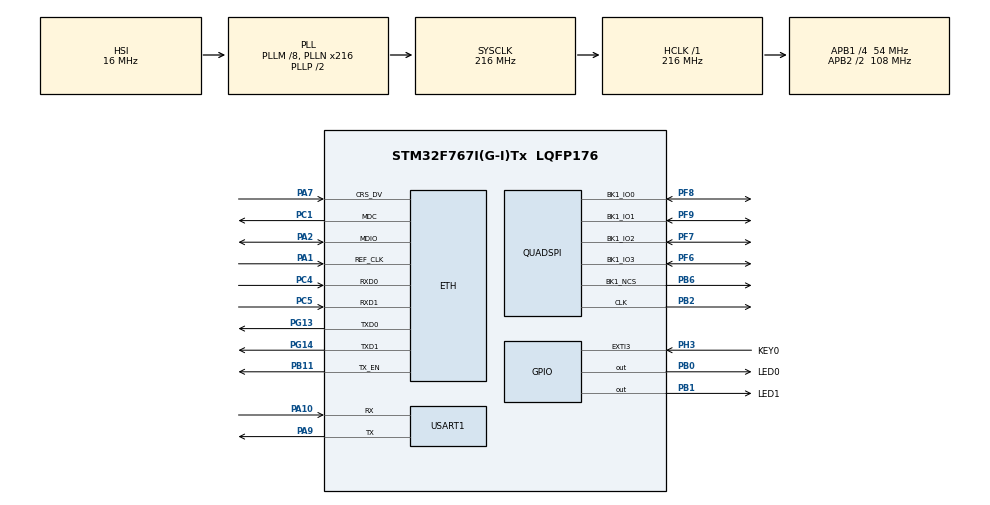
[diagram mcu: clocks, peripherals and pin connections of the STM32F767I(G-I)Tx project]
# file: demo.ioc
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CORTEX_M7.CPU_DCache=Enabled
CORTEX_M7.CPU_ICache=Enabled
Dma.Request0=USART1_TX
Dma.Request1=USART1_RX
Dma.USART1_RX.1.Direction=DMA_PERIPH_TO_MEMORY
Dma.USART1_RX.1.FIFOMode=DMA_FIFOMODE_DISABLE
Dma.USART1_RX.1.Instance=DMA2_Stream2
Dma.USART1_RX.1.MemDataAlignment=DMA_MDATAALIGN_BYTE
Dma.USART1_RX.1.MemInc=DMA_MINC_ENABLE
Dma.USART1_RX.1.Mode=DMA_NORMAL
Dma.USART1_RX.1.PeriphDataAlignment=DMA_PDATAALIGN_BYTE
Dma.USART1_RX.1.PeriphInc=DMA_PINC_DISABLE
Dma.USART1_RX.1.Priority=DMA_PRIORITY_LOW
Dma.USART1_TX.0.Direction=DMA_MEMORY_TO_PERIPH
Dma.USART1_TX.0.FIFOMode=DMA_FIFOMODE_DISABLE
Dma.USART1_TX.0.Instance=DMA2_Stream7
Dma.USART1_TX.0.MemDataAlignment=DMA_MDATAALIGN_BYTE
Dma.USART1_TX.0.MemInc=DMA_MINC_ENABLE
Dma.USART1_TX.0.Mode=DMA_NORMAL
Dma.USART1_TX.0.PeriphDataAlignment=DMA_PDATAALIGN_BYTE
Dma.USART1_TX.0.PeriphInc=DMA_PINC_DISABLE
Dma.USART1_TX.0.Priority=DMA_PRIORITY_LOW
ETH.MediaInterface=HAL_ETH_RMII_MODE
FREERTOS.Tasks01=defaultTask,0,4096,StartDefaultTask,Default,NULL,Dynamic,NULL,NULL;feedDogTask,-3,2048,StartTask02,Default,NULL,Dynamic,NULL,NULL
FREERTOS.configMINIMAL_STACK_SIZE=2048
FREERTOS.configTOTAL_HEAP_SIZE=102400
FREERTOS.configUSE_NEWLIB_REENTRANT=1
IWDG.Prescaler=IWDG_PRESCALER_64
LWIP.BSP.number=1
LWIP.DEFAULT_THREAD_STACKSIZE=2048
LWIP.GATEWAY_ADDRESS=192.168.001.001
LWIP.IP_ADDRESS=192.168.001.010
LWIP.LWIP_ARP=1
LWIP.LWIP_DHCP=0
LWIP.NETMASK_ADDRESS=255.255.255.000
LWIP.SLIPIF_THREAD_STACKSIZE=2048
LWIP.TCPIP_THREAD_NAME="tcpip_thread1"
LWIP.TCPIP_THREAD_STACKSIZE=2048
LWIP.Version=v2.1.2_Cube
LWIP0.BSP.STBoard=false
LWIP0.BSP.api=BSP_COMPONENT_DRIVER
LWIP0.BSP.component=LAN8742
LWIP0.BSP.instance=LAN8742
LWIP0.BSP.name=Driver_PHY
LWIP0.BSP.semaphore=S_LAN8742
LWIP0.BSP.solution=LAN8742
Mcu.Family=STM32F7
Mcu.Name=STM32F767I(G-I)Tx
Mcu.Package=LQFP176
NVIC.DMA2_Stream2_IRQn=true\:5\:0\:false\:false\:true\:true\:false\:true\:true
NVIC.DMA2_Stream7_IRQn=true\:5\:0\:false\:false\:true\:true\:false\:true\:true
NVIC.ETH_IRQn=true\:5\:0\:false\:false\:true\:true\:false\:true\:true
NVIC.EXTI3_IRQn=true\:5\:0\:false\:false\:true\:true\:true\:true\:true
NVIC.PriorityGroup=NVIC_PRIORITYGROUP_4
NVIC.TIM1_UP_TIM10_IRQn=true\:15\:0\:false\:false\:true\:false\:false\:true\:true
NVIC.TimeBase=TIM1_UP_TIM10_IRQn
NVIC.TimeBaseIP=TIM10
NVIC.USART1_IRQn=true\:5\:0\:false\:false\:true\:true\:true\:true\:true
PA1.Mode=RMII
PA1.Signal=ETH_REF_CLK
PA10.Mode=Asynchronous
PA10.Signal=USART1_RX
PA13.Mode=Trace_Synchro_4bits_JTAG
PA13.Signal=SYS_JTMS-SWDIO
PA14.Mode=Trace_Synchro_4bits_JTAG
PA14.Signal=SYS_JTCK-SWCLK
PA15.Mode=Trace_Synchro_4bits_JTAG
PA15.Signal=SYS_JTDI
PA2.Mode=RMII
PA2.Signal=ETH_MDIO
PA7.Mode=RMII
PA7.Signal=ETH_CRS_DV
PA9.Mode=Asynchronous
PA9.Signal=USART1_TX
PB0.GPIO_Label=LED0
PB0.PinState=GPIO_PIN_SET
PB0.Signal=GPIO_Output
PB1.GPIO_Label=LED1
PB1.PinState=GPIO_PIN_SET
PB1.Signal=GPIO_Output
PB11.Mode=RMII
PB11.Signal=ETH_TX_EN
PB2.Mode=Single Bank 1
PB2.Signal=QUADSPI_CLK
PB3.Mode=Trace_Synchro_4bits_JTAG
PB3.Signal=SYS_JTDO-SWO
PB6.Mode=Single Bank 1
PB6.Signal=QUADSPI_BK1_NCS
PC1.Mode=RMII
PC1.Signal=ETH_MDC
PC14/OSC32_IN.Mode=LSE-External-Oscillator
PC14/OSC32_IN.Signal=RCC_OSC32_IN
PC15/OSC32_OUT.Mode=LSE-External-Oscillator
PC15/OSC32_OUT.Signal=RCC_OSC32_OUT
PC4.Mode=RMII
PC4.Signal=ETH_RXD0
PC5.Mode=RMII
PC5.Signal=ETH_RXD1
PE2.Mode=Trace_Synchro_4bits_JTAG
PE2.Signal=SYS_TRACECLK
PE3.Mode=Trace_Synchro_4bits_JTAG
PE3.Signal=SYS_TRACED0
PE4.Mode=Trace_Synchro_4bits_JTAG
PE4.Signal=SYS_TRACED1
PE5.Mode=Trace_Synchro_4bits_JTAG
PE5.Signal=SYS_TRACED2
PE6.Mode=Trace_Synchro_4bits_JTAG
PE6.Signal=SYS_TRACED3
PF6.Mode=Single Bank 1
PF6.Signal=QUADSPI_BK1_IO3
PF7.Mode=Single Bank 1
PF7.Signal=QUADSPI_BK1_IO2
PF8.Mode=Single Bank 1
PF8.Signal=QUADSPI_BK1_IO0
PF9.Mode=Single Bank 1
PF9.Signal=QUADSPI_BK1_IO1
PG13.Mode=RMII
PG13.Signal=ETH_TXD0
PG14.Mode=RMII
PG14.Signal=ETH_TXD1
PH0/OSC_IN.Mode=HSE-External-Oscillator
PH0/OSC_IN.Signal=RCC_OSC_IN
PH1/OSC_OUT.Mode=HSE-External-Oscillator
PH1/OSC_OUT.Signal=RCC_OSC_OUT
PH3.GPIO_Label=KEY0
PH3.GPIO_ModeDefaultEXTI=GPIO_MODE_IT_FALLING
PH3.GPIO_PuPd=GPIO_PULLUP
PH3.Signal=GPXTI3
ProjectManager.HeapSize=0x2000
ProjectManager.StackSize=0x2000
ProjectManager.TargetToolchain=STM32CubeIDE
QUADSPI.ChipSelectHighTime=QSPI_CS_HIGH_TIME_5_CYCLE
QUADSPI.ClockPrescaler=1
QUADSPI.FifoThreshold=32
QUADSPI.FlashSize=24
QUADSPI.SampleShifting=QSPI_SAMPLE_SHIFTING_HALFCYCLE
RCC.AHBFreq_Value=216000000
RCC.APB1CLKDivider=RCC_HCLK_DIV4
RCC.APB1Freq_Value=54000000
RCC.APB1TimFreq_Value=108000000
RCC.APB2CLKDivider=RCC_HCLK_DIV2
RCC.APB2Freq_Value=108000000
RCC.APB2TimFreq_Value=216000000
RCC.CortexFreq_Value=216000000
RCC.HCLKFreq_Value=216000000
RCC.HSE_VALUE=25000000
RCC.HSI_VALUE=16000000
RCC.PLLM=8
RCC.PLLN=216
RCC.SYSCLKFreq_VALUE=216000000
RCC.SYSCLKSource=RCC_SYSCLKSOURCE_PLLCLK
RCC.USART1CLockSelection=RCC_USART1CLKSOURCE_SYSCLK
RCC.USBFreq_Value=216000000
RCC.VCOOutputFreq_Value=432000000
USART1.VirtualMode-Asynchronous=VM_ASYNC
VP_FREERTOS_VS_CMSIS_V1.Mode=CMSIS_V1
VP_IWDG_VS_IWDG.Mode=IWDG_Activate
VP_LWIP_VS_Enabled.Mode=Enabled
VP_SYS_VS_tim10.Mode=TIM10
board=custom

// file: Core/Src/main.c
/* USER CODE BEGIN Header */
/**
  ******************************************************************************
  * @file           : main.c
  * @brief          : Main program body
  ******************************************************************************
  * @attention
  *
  * Copyright (c) 2024 STMicroelectronics.
  * All rights reserved.
  *
  * This software is licensed under terms that can be found in the LICENSE file
  * in the root directory of this software component.
  * If no LICENSE file comes with this software, it is provided AS-IS.
  *
  ******************************************************************************
  */
/* USER CODE END Header */
#include "main.h"
#include "cmsis_os.h"
#include "dma.h"
#include "iwdg.h"
#include "lwip.h"
#include "quadspi.h"
#include "usart.h"
#include "gpio.h"

/* USER CODE BEGIN Includes */
#include "pcf8574.h"
#include "delay.h"
/* USER CODE END Includes */

void SystemClock_Config(void);
void MX_FREERTOS_Init(void);

int main(void)
{
/* Enable the CPU Cache */

  /* Enable I-Cache---------------------------------------------------------*/
  SCB_EnableICache();

  /* Enable D-Cache---------------------------------------------------------*/
  SCB_EnableDCache();

  /* MCU Configuration--------------------------------------------------------*/

  /* Reset of all peripherals, Initializes the Flash interface and the Systick. */
  HAL_Init();

  /* Configure the system clock */
  SystemClock_Config();

  /* USER CODE BEGIN SysInit */
  SCB->CACR|=1<<2;  //强制D-Cache�?写,如�?开�?�,实际使用中�?�能�?�到�?��?问题
  delay_init();
  /* USER CODE END SysInit */

  /* Initialize all configured peripherals */
  MX_GPIO_Init();
  MX_DMA_Init();
  MX_USART1_UART_Init();
  //MX_IWDG_Init();
  MX_QUADSPI_Init();
  /* USER CODE BEGIN 2 */
  //iwdg_init中已�?开�?�iwdg
  PCF8574_Init();
	PCF8574_WriteBit(ETH_RESET_IO,1);
	delay_ms(100);
	PCF8574_WriteBit(ETH_RESET_IO,0);
	delay_ms(100);
  /* USER CODE END 2 */

  /* Call init function for freertos objects (in freertos.c) */
  MX_FREERTOS_Init();

  /* Start scheduler */
  osKernelStart();

  /* We should never get here as control is now taken by the scheduler */
  /* Infinite loop */
  while (1)
  {

  }
}

void SystemClock_Config(void)
{
  RCC_OscInitTypeDef RCC_OscInitStruct = {0};
  RCC_ClkInitTypeDef RCC_ClkInitStruct = {0};

  /** Configure LSE Drive Capability
  */
  HAL_PWR_EnableBkUpAccess();

  /** Configure the main internal regulator output voltage
  */
  __HAL_RCC_PWR_CLK_ENABLE();
  __HAL_PWR_VOLTAGESCALING_CONFIG(PWR_REGULATOR_VOLTAGE_SCALE1);

  /** Initializes the RCC Oscillators according to the specified parameters
  * in the RCC_OscInitTypeDef structure.
  */
  RCC_OscInitStruct.OscillatorType = RCC_OSCILLATORTYPE_HSI|RCC_OSCILLATORTYPE_LSI;
  RCC_OscInitStruct.HSIState = RCC_HSI_ON;
  RCC_OscInitStruct.HSICalibrationValue = RCC_HSICALIBRATION_DEFAULT;
  RCC_OscInitStruct.LSIState = RCC_LSI_ON;
  RCC_OscInitStruct.PLL.PLLState = RCC_PLL_ON;
  RCC_OscInitStruct.PLL.PLLSource = RCC_PLLSOURCE_HSI;
  RCC_OscInitStruct.PLL.PLLM = 8;
  RCC_OscInitStruct.PLL.PLLN = 216;
  RCC_OscInitStruct.PLL.PLLP = RCC_PLLP_DIV2;
  RCC_OscInitStruct.PLL.PLLQ = 2;
  RCC_OscInitStruct.PLL.PLLR = 2;
  if (HAL_RCC_OscConfig(&RCC_OscInitStruct) != HAL_OK)
  {
    Error_Handler();
  }

  /** Activate the Over-Drive mode
  */
  if (HAL_PWREx_EnableOverDrive() != HAL_OK)
  {
    Error_Handler();
  }

  /** Initializes the CPU, AHB and APB buses clocks
  */
  RCC_ClkInitStruct.ClockType = RCC_CLOCKTYPE_HCLK|RCC_CLOCKTYPE_SYSCLK
                              |RCC_CLOCKTYPE_PCLK1|RCC_CLOCKTYPE_PCLK2;
  RCC_ClkInitStruct.SYSCLKSource = RCC_SYSCLKSOURCE_PLLCLK;
  RCC_ClkInitStruct.AHBCLKDivider = RCC_SYSCLK_DIV1;
  RCC_ClkInitStruct.APB1CLKDivider = RCC_HCLK_DIV4;
  RCC_ClkInitStruct.APB2CLKDivider = RCC_HCLK_DIV2;

  if (HAL_RCC_ClockConfig(&RCC_ClkInitStruct, FLASH_LATENCY_7) != HAL_OK)
  {
    Error_Handler();
  }
}

void HAL_TIM_PeriodElapsedCallback(TIM_HandleTypeDef *htim)
{
  if (htim->Instance == TIM10) {
    HAL_IncTick();
  }
}

void Error_Handler(void)
{
  __disable_irq();
  while (1)
  {
  }
}

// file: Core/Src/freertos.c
/* USER CODE BEGIN Header */
/**
  ******************************************************************************
  * File Name          : freertos.c
  * Description        : Code for freertos applications
  ******************************************************************************
  * @attention
  *
  * Copyright (c) 2024 STMicroelectronics.
  * All rights reserved.
  *
  * This software is licensed under terms that can be found in the LICENSE file
  * in the root directory of this software component.
  * If no LICENSE file comes with this software, it is provided AS-IS.
  *
  ******************************************************************************
  */
/* USER CODE END Header */

#include "FreeRTOS.h"
#include "task.h"
#include "main.h"
#include "cmsis_os.h"

/* USER CODE BEGIN Includes */
#include "pcf8574.h"
#include <stdio.h>
#include "iwdg.h"
#include "w25q256.h"
#include <stdbool.h>
#include "usart.h"
#include "lwip/sockets.h"
#include "lwip/netif.h"
#include "lwip/ip_addr.h"
#include <string.h>
#include "lwip/sockets.h"
/* USER CODE END Includes */

/* USER CODE BEGIN PD */
const u8 TEXT_Buffer[]={"New SP Embeded QSPI TEST"};
#define SIZE sizeof(TEXT_Buffer)
uint8_t rxbuf[17] = {0};
uint8_t net_init_flag;
/* USER CODE END PD */

/* USER CODE BEGIN Variables */
osThreadId dmaReceiveTaskHandle;
/* USER CODE END Variables */
osThreadId defaultTaskHandle;
osThreadId feedDogTaskHandle;

/* USER CODE BEGIN FunctionPrototypes */
void test_w25Q256(void){
  u32 flash_size=32*1024*1024;	//FLASH 大�?为32M字节
  u8 datatemp[SIZE] = {0};
  printf("Start write data to W25Q256.... \r\n");
  W25Q256_Write((u8*)TEXT_Buffer,flash_size-100,SIZE);
  printf("W25Q256 Write Finished!\r\n");	//�??示传�?完�?
  printf("Start Read W25Q256.... \r\n");
  W25Q256_Read(datatemp, flash_size-100, SIZE);					//从倒数第100个地�?�处开始,读出SIZE个字节
  printf("Get data from w25Q256: %s\r\n", datatemp);
}

void StartTask03(void const * argument);

static void udp_thread();

static void tcp_client_thread();

static void tcp_server_thread();

int set_noblock(int sock);

void set_timeout(int sockfd, long t);
/* USER CODE END FunctionPrototypes */

void StartDefaultTask(void const * argument);
void StartTask02(void const * argument);

extern void MX_LWIP_Init(void);
void MX_FREERTOS_Init(void); /* (MISRA C 2004 rule 8.1) */

/* GetIdleTaskMemory prototype (linked to static allocation support) */
void vApplicationGetIdleTaskMemory( StaticTask_t **ppxIdleTaskTCBBuffer, StackType_t **ppxIdleTaskStackBuffer, uint32_t *pulIdleTaskStackSize );

/* USER CODE BEGIN GET_IDLE_TASK_MEMORY */
static StaticTask_t xIdleTaskTCBBuffer;
static StackType_t xIdleStack[configMINIMAL_STACK_SIZE];

void vApplicationGetIdleTaskMemory( StaticTask_t **ppxIdleTaskTCBBuffer, StackType_t **ppxIdleTaskStackBuffer, uint32_t *pulIdleTaskStackSize )
{
  *ppxIdleTaskTCBBuffer = &xIdleTaskTCBBuffer;
  *ppxIdleTaskStackBuffer = &xIdleStack[0];
  *pulIdleTaskStackSize = configMINIMAL_STACK_SIZE;
  /* place for user code */
}
/* USER CODE END GET_IDLE_TASK_MEMORY */

void MX_FREERTOS_Init(void) {

  /* Create the thread(s) */
  /* definition and creation of defaultTask */
  osThreadDef(defaultTask, StartDefaultTask, osPriorityNormal, 0, 4096);
  defaultTaskHandle = osThreadCreate(osThread(defaultTask), NULL);

  /* definition and creation of feedDogTask */
  osThreadDef(feedDogTask, StartTask02, osPriorityIdle, 0, 2048);
  feedDogTaskHandle = osThreadCreate(osThread(feedDogTask), NULL);

  /* USER CODE BEGIN RTOS_THREADS */
  /* add threads, ... */
  osThreadDef(dmaReceiveTask, StartTask03, osPriorityIdle, 0, 2048);
  dmaReceiveTaskHandle = osThreadCreate(osThread(dmaReceiveTask), NULL);
  /* USER CODE END RTOS_THREADS */

}

void StartDefaultTask(void const * argument)
{
  /* init code for LWIP */
  MX_LWIP_Init();
  /* USER CODE BEGIN StartDefaultTask */
  /* Infinite loop */

  net_init_flag = 1;

  W25Q256_Init();

  while(W25Q256_ReadID()!=W25Q256)								//检测�?到W25Q256
	{
		printf("QSPI Check Failed!");
		HAL_Delay(1000);
		printf("Please Check!\n\n\n\n");
		HAL_Delay(1000);
	}
  printf("QSPI Ready!\r\n");

  test_w25Q256();

   uint32_t bootaddr = READ_REG(FLASH->OPTCR1);

   printf("bootaddr: %x\r\n", bootaddr);

  for(;;)
  {
	  HAL_GPIO_WritePin(GPIOB, LED0_Pin, GPIO_PIN_SET);
	  HAL_GPIO_WritePin(GPIOB, LED1_Pin, GPIO_PIN_SET);
	  osDelay(500);
	  HAL_GPIO_WritePin(GPIOB, LED0_Pin, GPIO_PIN_RESET);
	  HAL_GPIO_WritePin(GPIOB, LED1_Pin, GPIO_PIN_RESET);
	  osDelay(500);

	  printf("hello\r\n");

    printf("world\r\n");

  }
  /* USER CODE END StartDefaultTask */
}

void StartTask02(void const * argument)
{
  /* USER CODE BEGIN StartTask02 */

  //等待网络初始化
   while (!net_init_flag)
   {
     printf("not init\r\n");
   }
  //osDelay(1000);

  /* Infinite loop */
  for(;;)
  {
    // HAL_IWDG_Refresh(&hiwdg);

    // printf("refresh iwdg\r\n");

    // osDelay(6000);  //看门狗为8s左�?�

	  //udp_thread();

    //tcp_client_thread();

    tcp_server_thread();
  }
  /* USER CODE END StartTask02 */
}

/* USER CODE BEGIN Application */
void StartTask03(void const * argument)
{
  static bool flag = true;
  rxbuf[16] = '\0';   //字符串输出最后一字节\0
  /**
   * @brief DMA接收
   *
   */
  HAL_UART_Receive_DMA(&huart1, rxbuf, sizeof(rxbuf)-1);

  osDelay(50);

  printf("reveive dma state: %d\r\n", hdma_usart1_rx.State);

  while(1){
    if(hdma_usart1_rx.State == HAL_DMA_STATE_READY)
		{
      printf("reveive string: %s\r\n", rxbuf);
      HAL_UART_Receive_DMA(&huart1, rxbuf, sizeof(rxbuf)-1);
    }
  }

  /**
   * @brief 中断接收
   *
   */
  // HAL_UART_Receive_IT(&huart1, rxbuf, sizeof(rxbuf));

  // osDelay(50);

  // printf("reveive dma state: %x\r\n", huart1.RxState);

  // while(1){
  //   if(huart1.RxState == HAL_UART_STATE_READY)
	// 	{
  //     printf("reveive string: %s\r\n", rxbuf);
  //     while(huart1.RxState != HAL_UART_STATE_BUSY_RX){
  //       HAL_UART_Receive_IT(&huart1, rxbuf, sizeof(rxbuf));
  //     }
  //     // not work
  //     //while(HAL_UART_Receive_IT(&huart1, rxbuf, sizeof(rxbuf)) != HAL_OK) ;
  //   }

  // }

}

void HAL_UART_RxCpltCallback(UART_HandleTypeDef *huart){
    //数据处理
}

//udp 任务函数
#define UDP_PORT 12345
#define SERVER_PORT 6789
#define SERVER_IP "192.168.1.5"
#define LWIP_SEND_DATA 0x80

u8 udp_flag = 0x80;

static void udp_thread()
{
  struct sockaddr_in server_addr, local_addr;
  int local_sockid = -1;
  int index = 0;

  // 发送与接收缓冲
  char* txbuffer = (char *)pvPortMalloc(50*sizeof(char));
  char* rxbuffer = (char *)pvPortMalloc(50*sizeof(char));
  memset(txbuffer, 0, 50);
  memset(rxbuffer, 0, 50);

  local_sockid = socket(AF_INET, SOCK_DGRAM, 0);  //传0，使用默认协议
  if(local_sockid < 0){
    return;
  }

  //可以不bind
  memset(&local_addr, 0, sizeof(struct sockaddr_in));
  local_addr.sin_family  =  AF_INET;
  local_addr.sin_addr.s_addr  =  htonl(INADDR_ANY);
  local_addr.sin_port  =  htons(UDP_PORT);

  if(bind(local_sockid, (struct sockaddr *)&local_addr, sizeof(local_addr) ) < 0){
    printf("bind failed!!!\r\n");
    return;
  }

  memset(&server_addr, 0, sizeof(struct sockaddr_in));
  server_addr.sin_family = AF_INET;
  inet_pton(AF_INET, SERVER_IP, &server_addr.sin_addr.s_addr);
  server_addr.sin_port = htons(SERVER_PORT);

  while (1)
  {
      if ((udp_flag & LWIP_SEND_DATA) == LWIP_SEND_DATA) //有数据要发送
      {
        char buffer[20];

        char letter = (u8)(index + 0x30);

        sprintf(buffer, "hello world! %c", letter);

        int len = strlen(buffer);

        buffer[len] = '\0';

        memcpy(txbuffer, buffer, len+1);

        if(sendto(local_sockid, txbuffer, len, 0, &server_addr, sizeof(server_addr)) < 0){
          printf("send failed!!!\r\n");
          continue;
        }

        printf("UDP send: %s\r\n", buffer);

        index = index>=9 ? 0: (++index);

        udp_flag &= ~LWIP_SEND_DATA;	//清除数据发送标志
      }

      struct sockaddr_in remote_addr;

      socklen_t remote_len;

      int  recv_len  =  recvfrom(local_sockid,  rxbuffer,  50,  0,  (struct  sockaddr  *)&remote_addr,  &remote_len);

      if(recv_len > 0 && recv_len <= 50){
        rxbuffer[recv_len] = '\0';

        printf("UDP recieve reply from server: %s\r\n", rxbuffer);
      }

      udp_flag = LWIP_SEND_DATA;

      osDelay(2000);

  }
}

//  设置套接字为非阻塞模式
int set_noblock(int sock){
  int  flags  =  fcntl(sock,  F_GETFL,  0);
  if  (flags  ==  -1)  {
      //  错误处理
      close(sock);
      return  -1;
  }
  flags  |=  O_NONBLOCK;
  if  (fcntl(sock,  F_SETFL,  flags)  ==  -1)  {
      //  错误处理
      close(sock);
      return  -1;
  }
  return 0;
}

void set_timeout(int sockfd, long t){
  //  设置超时
  struct  timeval  timeout;
  timeout.tv_sec  =  t  /  1000;
  timeout.tv_usec  =  (t  %  1000)  *  1000;
  setsockopt(sockfd,  SOL_SOCKET,  SO_SNDTIMEO,  (const  char*)&timeout,  sizeof(timeout));
  setsockopt(sockfd,  SOL_SOCKET,  SO_RCVTIMEO,  (const  char*)&timeout,  sizeof(timeout));

  return;
}

//tcp 客户端函数
static void tcp_client_thread(){
  struct sockaddr_in server_addr, local_addr;
  int local_sockid = -1;
  int index = 0;

  // 发送与接收缓冲
  char* txbuffer = (char *)pvPortMalloc(50*sizeof(char));
  char* rxbuffer = (char *)pvPortMalloc(50*sizeof(char));
  memset(txbuffer, 0, 50);
  memset(rxbuffer, 0, 50);

  local_sockid = socket(AF_INET, SOCK_STREAM, 0);  //传0，使用默认协议
  if(local_sockid < 0){
    return;
  }

  // if(set_noblock(local_sockid) < 0){
  //   printf("set noblock failed!\r\n");
  //   return;
  // }

  set_timeout(local_sockid, 2000);

  memset(&server_addr, 0, sizeof(struct sockaddr_in));
  server_addr.sin_family = AF_INET;
  inet_pton(AF_INET, SERVER_IP, &server_addr.sin_addr.s_addr);
  server_addr.sin_port = htons(SERVER_PORT);

  int ret = 0;

  if((ret = connect(local_sockid, (struct sockaddr*)&server_addr, sizeof(server_addr))) < 0){
    if(errno == EINPROGRESS){
      printf("connect in progresss\r\n");
      //wait for a while ?
      return;
    }

    printf("connect to server failed!!!\r\n");
    osDelay(1000);
    close(local_sockid);
    return;
  }

  while(1){
      if ((udp_flag & LWIP_SEND_DATA) == LWIP_SEND_DATA) //有数据要发送
      {
        char buffer[20];

        char letter = (u8)(index + 0x30);

        sprintf(buffer, "hello world! %c", letter);

        int len = strlen(buffer);

        buffer[len] = '\0';

        memcpy(txbuffer, buffer, len+1);

        if(send(local_sockid, txbuffer, len, 0) < 0){   //最后flags 置0，同write
          printf("send failed!!!\r\n");
          //continue;
        }

        printf("tcp client send: %s\r\n", buffer);

        index = index>=9 ? 0: (++index);

        udp_flag &= ~LWIP_SEND_DATA;	//清除数据发送标志
      }

      int  recv_len  =  recv(local_sockid,  rxbuffer,  50,  0);

      if(recv_len > 0 && recv_len <= 50){
        rxbuffer[recv_len] = '\0';

        printf("tcp client recieve reply from server: %s\r\n", rxbuffer);
      }

      udp_flag = LWIP_SEND_DATA;

      osDelay(2000);
  }

}

void servertask(void const * argument)
{

}

static void handle_client(int new_sock){
  // osThreadId serverTaskHandle;

  // osThreadDef(serverTask, servertask, osPriorityIdle, 0, 2048);
  // serverTaskHandle = osThreadCreate(osThread(servertask), NULL);

  char *buffer = (char*)pvPortMalloc(20);

  while(1){
    int len = recv(new_sock, buffer, 20, 0);

    if(len>0){
      buffer[len] = '\0';

      printf("recv from server: %s\r\n", buffer);

      buffer[len] = 'E';
      buffer[len+1] = '\0';

      send(new_sock, buffer, len+1, 0);
    }
    else{
      printf("recv nothing!\r\n");
      close(new_sock);
      break;
    }
  }

  close(new_sock);

  //clients 后处理

}

#define  MAX_CLIENTS  3

struct client
{
  int sock;
  struct in_addr ip;
  u16_t port;
};

struct client clients[3];

//tcp 服务端函数
static void tcp_server_thread(){
    int  server_socket;
    struct  sockaddr_in  server_addr,  client_addr;
    socklen_t  client_len  =  sizeof(client_addr);
    int  i,  new_sock;

    for(i=0; i<MAX_CLIENTS; ++i){
      clients[i].sock = -1;
    }

    server_socket  =  socket(AF_INET,  SOCK_STREAM,  0);
    if  (server_socket  <  0)  {
        //  错误处理
        return;
    }

    server_addr.sin_family  =  AF_INET;
    server_addr.sin_addr.s_addr  =  INADDR_ANY;
    server_addr.sin_port  =  htons(12345);

    if  (bind(server_socket,  (struct  sockaddr  *)&server_addr,  sizeof(server_addr))  <  0)  {
        //  错误处理
        printf("bind failed!!\r\n");
        close(server_socket);
        return;
    }

    if  (listen(server_socket,  MAX_CLIENTS)  <  0)  {
        //  错误处理
        printf("listen error\r\n");
        closesocket(server_socket);
        return;
    }

    printf("2222222222\r\n");

    while  (1)  {
        new_sock  =  accept(server_socket,  (struct  sockaddr  *)&client_addr,  &client_len);
        if  (new_sock  <  0)  {
            printf("accept error!!!\r\n");
            continue;
        }

        //  添加新客户端到列表
        for  (i  =  0;  i  <  MAX_CLIENTS;  i++)  {
            if  (clients[i].sock  ==  -1)  {
                clients[i].sock  =  new_sock;
                clients[i].ip  =  client_addr.sin_addr;
                clients[i].port  =  ntohs(client_addr.sin_port);
                break;
            }
        }

        if  (i  ==  MAX_CLIENTS)  {
            //  客户端列表已满
            close(new_sock);
            continue;
        }

        //  处理客户端连接
        handle_client(new_sock);
    }

    close(server_socket);
}

/* USER CODE END Application */
